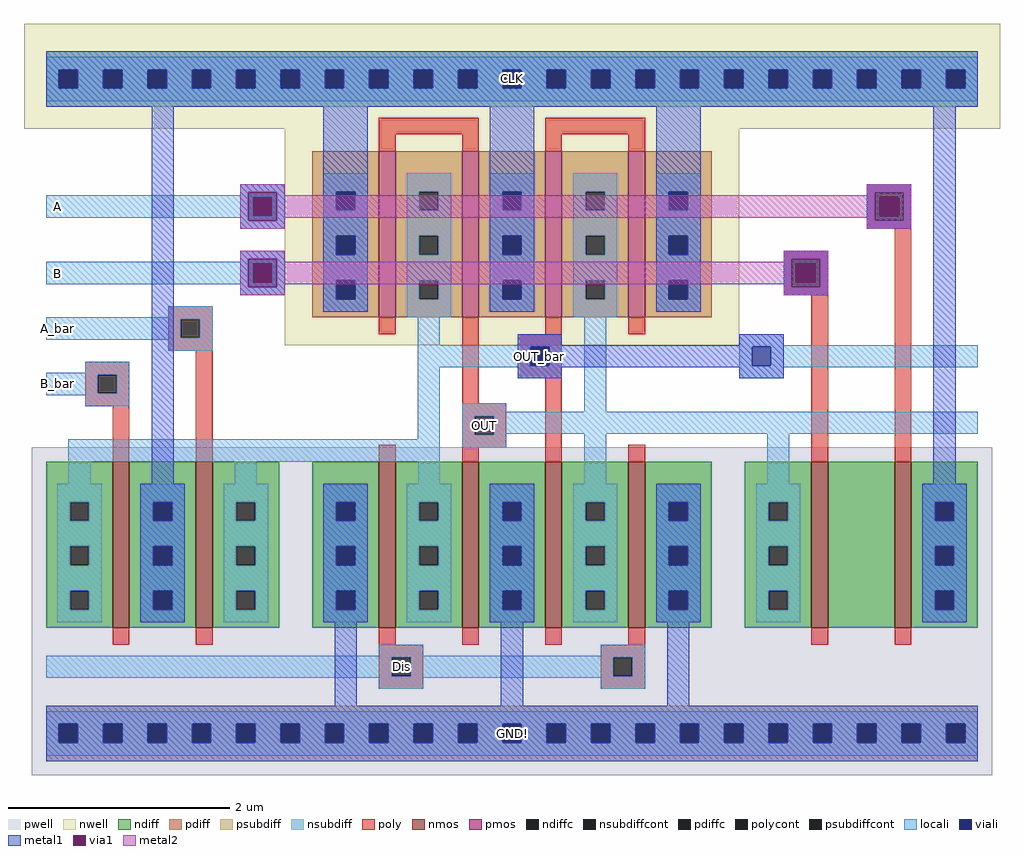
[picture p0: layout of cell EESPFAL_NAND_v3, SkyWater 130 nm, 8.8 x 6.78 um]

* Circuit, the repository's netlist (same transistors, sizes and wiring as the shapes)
* NGSPICE file created from EESPFAL_NAND_v3.ext - technology: sky130A

.subckt EESPFAL_NAND_v3 A A_bar B B_bar OUT OUT_bar Dis GND CLK
X0 CLK OUT_bar OUT CLK sky130_fd_pr__pfet_01v8 ad=2.7e+12p pd=1.26e+07u as=9e+11p ps=4.2e+06u w=1.5e+06u l=150000u M=2
X1 CLK A a_n2940_320# GND sky130_fd_pr__nfet_01v8 ad=6e+12p pd=2.62e+07u as=9e+11p ps=4.2e+06u w=1.5e+06u l=150000u
X2 CLK OUT OUT_bar CLK sky130_fd_pr__pfet_01v8 ad=0p pd=0u as=9e+11p ps=4.2e+06u w=1.5e+06u l=150000u M=2
X3 CLK B_bar OUT_bar GND sky130_fd_pr__nfet_01v8 ad=0p pd=0u as=2.7e+12p ps=1.26e+07u w=1.5e+06u l=150000u
X4 OUT OUT_bar GND GND sky130_fd_pr__nfet_01v8 ad=1.8e+12p pd=8.4e+06u as=2.7e+12p ps=1.26e+07u w=1.5e+06u l=150000u
X5 OUT_bar Dis GND GND sky130_fd_pr__nfet_01v8 ad=0p pd=0u as=0p ps=0u w=1.5e+06u l=150000u
X6 OUT_bar A_bar CLK GND sky130_fd_pr__nfet_01v8 ad=0p pd=0u as=0p ps=0u w=1.5e+06u l=150000u
X7 a_n2940_320# B OUT GND sky130_fd_pr__nfet_01v8 ad=0p pd=0u as=0p ps=0u w=1.5e+06u l=150000u
X8 GND Dis OUT GND sky130_fd_pr__nfet_01v8 ad=0p pd=0u as=0p ps=0u w=1.5e+06u l=150000u
X9 GND OUT OUT_bar GND sky130_fd_pr__nfet_01v8 ad=0p pd=0u as=0p ps=0u w=1.5e+06u l=150000u
.ends

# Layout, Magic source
magic
tech sky130A
magscale 1 2
<< nwell >>
rect -949 486 811 676
rect -479 96 341 486
<< pwell >>
rect -935 -680 797 -88
<< nmos >>
rect -789 -414 -759 -114
rect -639 -414 -609 -114
rect -309 -414 -279 -114
rect -159 -414 -129 -114
rect -9 -414 21 -114
rect 141 -414 171 -114
rect 471 -414 501 -114
rect 621 -414 651 -114
<< pmos >>
rect -309 146 -279 446
rect -159 146 -129 446
rect -9 146 21 446
rect 141 146 171 446
<< ndiff >>
rect -909 -187 -789 -114
rect -909 -221 -866 -187
rect -832 -221 -789 -187
rect -909 -267 -789 -221
rect -909 -301 -866 -267
rect -832 -301 -789 -267
rect -909 -347 -789 -301
rect -909 -381 -866 -347
rect -832 -381 -789 -347
rect -909 -414 -789 -381
rect -759 -187 -639 -114
rect -759 -221 -716 -187
rect -682 -221 -639 -187
rect -759 -267 -639 -221
rect -759 -301 -716 -267
rect -682 -301 -639 -267
rect -759 -347 -639 -301
rect -759 -381 -716 -347
rect -682 -381 -639 -347
rect -759 -414 -639 -381
rect -609 -187 -489 -114
rect -609 -221 -566 -187
rect -532 -221 -489 -187
rect -609 -267 -489 -221
rect -609 -301 -566 -267
rect -532 -301 -489 -267
rect -609 -347 -489 -301
rect -609 -381 -566 -347
rect -532 -381 -489 -347
rect -609 -414 -489 -381
rect -429 -187 -309 -114
rect -429 -221 -386 -187
rect -352 -221 -309 -187
rect -429 -267 -309 -221
rect -429 -301 -386 -267
rect -352 -301 -309 -267
rect -429 -347 -309 -301
rect -429 -381 -386 -347
rect -352 -381 -309 -347
rect -429 -414 -309 -381
rect -279 -187 -159 -114
rect -279 -221 -236 -187
rect -202 -221 -159 -187
rect -279 -267 -159 -221
rect -279 -301 -236 -267
rect -202 -301 -159 -267
rect -279 -347 -159 -301
rect -279 -381 -236 -347
rect -202 -381 -159 -347
rect -279 -414 -159 -381
rect -129 -187 -9 -114
rect -129 -221 -86 -187
rect -52 -221 -9 -187
rect -129 -267 -9 -221
rect -129 -301 -86 -267
rect -52 -301 -9 -267
rect -129 -347 -9 -301
rect -129 -381 -86 -347
rect -52 -381 -9 -347
rect -129 -414 -9 -381
rect 21 -187 141 -114
rect 21 -221 64 -187
rect 98 -221 141 -187
rect 21 -267 141 -221
rect 21 -301 64 -267
rect 98 -301 141 -267
rect 21 -347 141 -301
rect 21 -381 64 -347
rect 98 -381 141 -347
rect 21 -414 141 -381
rect 171 -187 291 -114
rect 171 -221 214 -187
rect 248 -221 291 -187
rect 171 -267 291 -221
rect 171 -301 214 -267
rect 248 -301 291 -267
rect 171 -347 291 -301
rect 171 -381 214 -347
rect 248 -381 291 -347
rect 171 -414 291 -381
rect 351 -187 471 -114
rect 351 -221 394 -187
rect 428 -221 471 -187
rect 351 -267 471 -221
rect 351 -301 394 -267
rect 428 -301 471 -267
rect 351 -347 471 -301
rect 351 -381 394 -347
rect 428 -381 471 -347
rect 351 -414 471 -381
rect 501 -414 621 -114
rect 651 -187 771 -114
rect 651 -221 694 -187
rect 728 -221 771 -187
rect 651 -267 771 -221
rect 651 -301 694 -267
rect 728 -301 771 -267
rect 651 -347 771 -301
rect 651 -381 694 -347
rect 728 -381 771 -347
rect 651 -414 771 -381
<< pdiff >>
rect -429 373 -309 446
rect -429 339 -386 373
rect -352 339 -309 373
rect -429 293 -309 339
rect -429 259 -386 293
rect -352 259 -309 293
rect -429 213 -309 259
rect -429 179 -386 213
rect -352 179 -309 213
rect -429 146 -309 179
rect -279 373 -159 446
rect -279 339 -236 373
rect -202 339 -159 373
rect -279 293 -159 339
rect -279 259 -236 293
rect -202 259 -159 293
rect -279 213 -159 259
rect -279 179 -236 213
rect -202 179 -159 213
rect -279 146 -159 179
rect -129 373 -9 446
rect -129 339 -86 373
rect -52 339 -9 373
rect -129 293 -9 339
rect -129 259 -86 293
rect -52 259 -9 293
rect -129 213 -9 259
rect -129 179 -86 213
rect -52 179 -9 213
rect -129 146 -9 179
rect 21 373 141 446
rect 21 339 64 373
rect 98 339 141 373
rect 21 293 141 339
rect 21 259 64 293
rect 98 259 141 293
rect 21 213 141 259
rect 21 179 64 213
rect 98 179 141 213
rect 21 146 141 179
rect 171 373 291 446
rect 171 339 214 373
rect 248 339 291 373
rect 171 293 291 339
rect 171 259 214 293
rect 248 259 291 293
rect 171 213 291 259
rect 171 179 214 213
rect 248 179 291 213
rect 171 146 291 179
<< ndiffc >>
rect -866 -221 -832 -187
rect -866 -301 -832 -267
rect -866 -381 -832 -347
rect -716 -221 -682 -187
rect -716 -301 -682 -267
rect -716 -381 -682 -347
rect -566 -221 -532 -187
rect -566 -301 -532 -267
rect -566 -381 -532 -347
rect -386 -221 -352 -187
rect -386 -301 -352 -267
rect -386 -381 -352 -347
rect -236 -221 -202 -187
rect -236 -301 -202 -267
rect -236 -381 -202 -347
rect -86 -221 -52 -187
rect -86 -301 -52 -267
rect -86 -381 -52 -347
rect 64 -221 98 -187
rect 64 -301 98 -267
rect 64 -381 98 -347
rect 214 -221 248 -187
rect 214 -301 248 -267
rect 214 -381 248 -347
rect 394 -221 428 -187
rect 394 -301 428 -267
rect 394 -381 428 -347
rect 694 -221 728 -187
rect 694 -301 728 -267
rect 694 -381 728 -347
<< pdiffc >>
rect -386 339 -352 373
rect -386 259 -352 293
rect -386 179 -352 213
rect -236 339 -202 373
rect -236 259 -202 293
rect -236 179 -202 213
rect -86 339 -52 373
rect -86 259 -52 293
rect -86 179 -52 213
rect 64 339 98 373
rect 64 259 98 293
rect 64 179 98 213
rect 214 339 248 373
rect 214 259 248 293
rect 214 179 248 213
<< psubdiff >>
rect -909 -587 771 -554
rect -909 -621 -886 -587
rect -852 -621 -806 -587
rect -772 -621 -726 -587
rect -692 -621 -646 -587
rect -612 -621 -566 -587
rect -532 -621 -486 -587
rect -452 -621 -406 -587
rect -372 -621 -326 -587
rect -292 -621 -246 -587
rect -212 -621 -166 -587
rect -132 -621 -86 -587
rect -52 -621 -6 -587
rect 28 -621 74 -587
rect 108 -621 154 -587
rect 188 -621 234 -587
rect 268 -621 314 -587
rect 348 -621 394 -587
rect 428 -621 474 -587
rect 508 -621 554 -587
rect 588 -621 634 -587
rect 668 -621 714 -587
rect 748 -621 771 -587
rect -909 -654 771 -621
<< nsubdiff >>
rect -909 593 771 626
rect -909 559 -886 593
rect -852 559 -806 593
rect -772 559 -726 593
rect -692 559 -646 593
rect -612 559 -566 593
rect -532 559 -486 593
rect -452 559 -406 593
rect -372 559 -326 593
rect -292 559 -246 593
rect -212 559 -166 593
rect -132 559 -86 593
rect -52 559 -6 593
rect 28 559 74 593
rect 108 559 154 593
rect 188 559 234 593
rect 268 559 314 593
rect 348 559 394 593
rect 428 559 474 593
rect 508 559 554 593
rect 588 559 634 593
rect 668 559 714 593
rect 748 559 771 593
rect -909 526 771 559
<< psubdiffcont >>
rect -886 -621 -852 -587
rect -806 -621 -772 -587
rect -726 -621 -692 -587
rect -646 -621 -612 -587
rect -566 -621 -532 -587
rect -486 -621 -452 -587
rect -406 -621 -372 -587
rect -326 -621 -292 -587
rect -246 -621 -212 -587
rect -166 -621 -132 -587
rect -86 -621 -52 -587
rect -6 -621 28 -587
rect 74 -621 108 -587
rect 154 -621 188 -587
rect 234 -621 268 -587
rect 314 -621 348 -587
rect 394 -621 428 -587
rect 474 -621 508 -587
rect 554 -621 588 -587
rect 634 -621 668 -587
rect 714 -621 748 -587
<< nsubdiffcont >>
rect -886 559 -852 593
rect -806 559 -772 593
rect -726 559 -692 593
rect -646 559 -612 593
rect -566 559 -532 593
rect -486 559 -452 593
rect -406 559 -372 593
rect -326 559 -292 593
rect -246 559 -212 593
rect -166 559 -132 593
rect -86 559 -52 593
rect -6 559 28 593
rect 74 559 108 593
rect 154 559 188 593
rect 234 559 268 593
rect 314 559 348 593
rect 394 559 428 593
rect 474 559 508 593
rect 554 559 588 593
rect 634 559 668 593
rect 714 559 748 593
<< poly >>
rect -309 476 -129 506
rect -309 446 -279 476
rect -159 446 -129 476
rect -9 476 171 506
rect -9 446 21 476
rect 141 446 171 476
rect -689 143 -609 166
rect 571 363 651 386
rect 571 329 594 363
rect 628 329 651 363
rect 571 306 651 329
rect 421 243 501 266
rect 421 209 444 243
rect 478 209 501 243
rect 421 186 501 209
rect -689 109 -666 143
rect -632 109 -609 143
rect -309 116 -279 146
rect -689 86 -609 109
rect -839 43 -759 66
rect -839 9 -816 43
rect -782 9 -759 43
rect -839 -14 -759 9
rect -789 -114 -759 -14
rect -639 -114 -609 86
rect -159 -9 -129 146
rect -9 116 21 146
rect 141 116 171 146
rect -59 93 21 116
rect -59 59 -36 93
rect -2 59 21 93
rect -59 36 21 59
rect -159 -32 -79 -9
rect -159 -66 -136 -32
rect -102 -66 -79 -32
rect -309 -114 -279 -84
rect -159 -89 -79 -66
rect -159 -114 -129 -89
rect -9 -114 21 36
rect 141 -114 171 -84
rect 471 -114 501 186
rect 621 -114 651 306
rect -789 -444 -759 -414
rect -639 -444 -609 -414
rect -309 -444 -279 -414
rect -159 -444 -129 -414
rect -9 -444 21 -414
rect 141 -444 171 -414
rect 471 -444 501 -414
rect 621 -444 651 -414
rect -309 -467 -229 -444
rect -309 -501 -286 -467
rect -252 -501 -229 -467
rect -309 -524 -229 -501
rect 91 -467 171 -444
rect 91 -501 114 -467
rect 148 -501 171 -467
rect 91 -524 171 -501
<< polycont >>
rect 594 329 628 363
rect 444 209 478 243
rect -666 109 -632 143
rect -816 9 -782 43
rect -36 59 -2 93
rect -136 -66 -102 -32
rect -286 -501 -252 -467
rect 114 -501 148 -467
<< locali >>
rect -909 593 771 616
rect -909 559 -886 593
rect -852 559 -806 593
rect -772 559 -726 593
rect -692 559 -646 593
rect -612 559 -566 593
rect -532 559 -486 593
rect -452 559 -406 593
rect -372 559 -326 593
rect -292 559 -246 593
rect -212 559 -166 593
rect -132 559 -86 593
rect -52 559 -6 593
rect 28 559 74 593
rect 108 559 154 593
rect 188 559 234 593
rect 268 559 314 593
rect 348 559 394 593
rect 428 559 474 593
rect 508 559 554 593
rect 588 559 634 593
rect 668 559 714 593
rect 748 559 771 593
rect -909 536 771 559
rect -559 366 -479 386
rect -909 363 -479 366
rect -909 329 -536 363
rect -502 329 -479 363
rect -909 326 -479 329
rect -559 306 -479 326
rect -409 373 -329 406
rect -409 339 -386 373
rect -352 339 -329 373
rect -409 293 -329 339
rect -559 246 -479 266
rect -909 243 -479 246
rect -909 209 -536 243
rect -502 209 -479 243
rect -909 206 -479 209
rect -559 186 -479 206
rect -409 259 -386 293
rect -352 259 -329 293
rect -409 213 -329 259
rect -409 179 -386 213
rect -352 179 -329 213
rect -689 146 -609 166
rect -409 156 -329 179
rect -259 373 -179 406
rect -259 339 -236 373
rect -202 339 -179 373
rect -259 293 -179 339
rect -259 259 -236 293
rect -202 259 -179 293
rect -259 213 -179 259
rect -259 179 -236 213
rect -202 179 -179 213
rect -259 146 -179 179
rect -109 373 -29 406
rect -109 339 -86 373
rect -52 339 -29 373
rect -109 293 -29 339
rect -109 259 -86 293
rect -52 259 -29 293
rect -109 213 -29 259
rect -109 179 -86 213
rect -52 179 -29 213
rect -109 156 -29 179
rect 41 373 121 406
rect 41 339 64 373
rect 98 339 121 373
rect 41 293 121 339
rect 41 259 64 293
rect 98 259 121 293
rect 41 213 121 259
rect 41 179 64 213
rect 98 179 121 213
rect 41 146 121 179
rect 191 373 271 406
rect 191 339 214 373
rect 248 339 271 373
rect 191 293 271 339
rect 571 363 651 386
rect 571 329 594 363
rect 628 329 651 363
rect 571 306 651 329
rect 191 259 214 293
rect 248 259 271 293
rect 191 213 271 259
rect 191 179 214 213
rect 248 179 271 213
rect 421 243 501 266
rect 421 209 444 243
rect 478 209 501 243
rect 421 186 501 209
rect 191 156 271 179
rect -909 143 -609 146
rect -909 109 -666 143
rect -632 109 -609 143
rect -909 106 -609 109
rect -689 86 -609 106
rect -239 96 -199 146
rect -59 96 21 116
rect -239 93 21 96
rect -839 46 -759 66
rect -909 43 -759 46
rect -909 9 -816 43
rect -782 9 -759 43
rect -909 6 -759 9
rect -839 -14 -759 6
rect -239 59 -36 93
rect -2 59 21 93
rect -239 56 21 59
rect -239 -74 -199 56
rect -59 36 21 56
rect -869 -114 -199 -74
rect -159 -24 -79 -9
rect 61 -24 101 146
rect 341 96 421 116
rect 341 93 771 96
rect 341 59 364 93
rect 398 59 771 93
rect 341 56 771 59
rect 341 36 421 56
rect -159 -32 771 -24
rect -159 -66 -136 -32
rect -102 -64 771 -32
rect -102 -66 -79 -64
rect -159 -89 -79 -66
rect -869 -154 -829 -114
rect -569 -154 -529 -114
rect -238 -154 -199 -114
rect 61 -154 101 -64
rect 391 -154 431 -64
rect -889 -187 -809 -154
rect -889 -221 -866 -187
rect -832 -221 -809 -187
rect -889 -267 -809 -221
rect -889 -301 -866 -267
rect -832 -301 -809 -267
rect -889 -347 -809 -301
rect -889 -381 -866 -347
rect -832 -381 -809 -347
rect -889 -404 -809 -381
rect -739 -187 -659 -154
rect -739 -221 -716 -187
rect -682 -221 -659 -187
rect -739 -267 -659 -221
rect -739 -301 -716 -267
rect -682 -301 -659 -267
rect -739 -347 -659 -301
rect -739 -381 -716 -347
rect -682 -381 -659 -347
rect -739 -404 -659 -381
rect -589 -187 -509 -154
rect -589 -221 -566 -187
rect -532 -221 -509 -187
rect -589 -267 -509 -221
rect -589 -301 -566 -267
rect -532 -301 -509 -267
rect -589 -347 -509 -301
rect -589 -381 -566 -347
rect -532 -381 -509 -347
rect -589 -404 -509 -381
rect -409 -187 -329 -154
rect -409 -221 -386 -187
rect -352 -221 -329 -187
rect -409 -267 -329 -221
rect -409 -301 -386 -267
rect -352 -301 -329 -267
rect -409 -347 -329 -301
rect -409 -381 -386 -347
rect -352 -381 -329 -347
rect -409 -404 -329 -381
rect -259 -187 -179 -154
rect -259 -221 -236 -187
rect -202 -221 -179 -187
rect -259 -267 -179 -221
rect -259 -301 -236 -267
rect -202 -301 -179 -267
rect -259 -347 -179 -301
rect -259 -381 -236 -347
rect -202 -381 -179 -347
rect -259 -404 -179 -381
rect -109 -187 -29 -154
rect -109 -221 -86 -187
rect -52 -221 -29 -187
rect -109 -267 -29 -221
rect -109 -301 -86 -267
rect -52 -301 -29 -267
rect -109 -347 -29 -301
rect -109 -381 -86 -347
rect -52 -381 -29 -347
rect -109 -404 -29 -381
rect 41 -187 121 -154
rect 41 -221 64 -187
rect 98 -221 121 -187
rect 41 -267 121 -221
rect 41 -301 64 -267
rect 98 -301 121 -267
rect 41 -347 121 -301
rect 41 -381 64 -347
rect 98 -381 121 -347
rect 41 -404 121 -381
rect 191 -187 271 -154
rect 191 -221 214 -187
rect 248 -221 271 -187
rect 191 -267 271 -221
rect 191 -301 214 -267
rect 248 -301 271 -267
rect 191 -347 271 -301
rect 191 -381 214 -347
rect 248 -381 271 -347
rect 191 -404 271 -381
rect 371 -187 451 -154
rect 371 -221 394 -187
rect 428 -221 451 -187
rect 371 -267 451 -221
rect 371 -301 394 -267
rect 428 -301 451 -267
rect 371 -347 451 -301
rect 371 -381 394 -347
rect 428 -381 451 -347
rect 371 -404 451 -381
rect 671 -187 751 -154
rect 671 -221 694 -187
rect 728 -221 751 -187
rect 671 -267 751 -221
rect 671 -301 694 -267
rect 728 -301 751 -267
rect 671 -347 751 -301
rect 671 -381 694 -347
rect 728 -381 751 -347
rect 671 -404 751 -381
rect -309 -464 -229 -444
rect 91 -464 171 -444
rect -909 -467 171 -464
rect -909 -501 -286 -467
rect -252 -501 114 -467
rect 148 -501 171 -467
rect -909 -504 171 -501
rect -309 -524 -229 -504
rect 91 -524 171 -504
rect -909 -587 771 -564
rect -909 -621 -886 -587
rect -852 -621 -806 -587
rect -772 -621 -726 -587
rect -692 -621 -646 -587
rect -612 -621 -566 -587
rect -532 -621 -486 -587
rect -452 -621 -406 -587
rect -372 -621 -326 -587
rect -292 -621 -246 -587
rect -212 -621 -166 -587
rect -132 -621 -86 -587
rect -52 -621 -6 -587
rect 28 -621 74 -587
rect 108 -621 154 -587
rect 188 -621 234 -587
rect 268 -621 314 -587
rect 348 -621 394 -587
rect 428 -621 474 -587
rect 508 -621 554 -587
rect 588 -621 634 -587
rect 668 -621 714 -587
rect 748 -621 771 -587
rect -909 -644 771 -621
<< viali >>
rect -886 559 -852 593
rect -806 559 -772 593
rect -726 559 -692 593
rect -646 559 -612 593
rect -566 559 -532 593
rect -486 559 -452 593
rect -406 559 -372 593
rect -326 559 -292 593
rect -246 559 -212 593
rect -166 559 -132 593
rect -86 559 -52 593
rect -6 559 28 593
rect 74 559 108 593
rect 154 559 188 593
rect 234 559 268 593
rect 314 559 348 593
rect 394 559 428 593
rect 474 559 508 593
rect 554 559 588 593
rect 634 559 668 593
rect 714 559 748 593
rect -536 329 -502 363
rect -386 339 -352 373
rect -536 209 -502 243
rect -386 259 -352 293
rect -386 179 -352 213
rect -86 339 -52 373
rect -86 259 -52 293
rect -86 179 -52 213
rect 214 339 248 373
rect 594 329 628 363
rect 214 259 248 293
rect 214 179 248 213
rect 444 209 478 243
rect -36 59 -2 93
rect 364 59 398 93
rect -716 -221 -682 -187
rect -716 -301 -682 -267
rect -716 -381 -682 -347
rect -386 -221 -352 -187
rect -386 -301 -352 -267
rect -386 -381 -352 -347
rect -86 -221 -52 -187
rect -86 -301 -52 -267
rect -86 -381 -52 -347
rect 214 -221 248 -187
rect 214 -301 248 -267
rect 214 -381 248 -347
rect 694 -221 728 -187
rect 694 -301 728 -267
rect 694 -381 728 -347
rect -886 -621 -852 -587
rect -806 -621 -772 -587
rect -726 -621 -692 -587
rect -646 -621 -612 -587
rect -566 -621 -532 -587
rect -486 -621 -452 -587
rect -406 -621 -372 -587
rect -326 -621 -292 -587
rect -246 -621 -212 -587
rect -166 -621 -132 -587
rect -86 -621 -52 -587
rect -6 -621 28 -587
rect 74 -621 108 -587
rect 154 -621 188 -587
rect 234 -621 268 -587
rect 314 -621 348 -587
rect 394 -621 428 -587
rect 474 -621 508 -587
rect 554 -621 588 -587
rect 634 -621 668 -587
rect 714 -621 748 -587
<< metal1 >>
rect -909 593 771 626
rect -909 559 -886 593
rect -852 559 -806 593
rect -772 559 -726 593
rect -692 559 -646 593
rect -612 559 -566 593
rect -532 559 -486 593
rect -452 559 -406 593
rect -372 559 -326 593
rect -292 559 -246 593
rect -212 559 -166 593
rect -132 559 -86 593
rect -52 559 -6 593
rect 28 559 74 593
rect 108 559 154 593
rect 188 559 234 593
rect 268 559 314 593
rect 348 559 394 593
rect 428 559 474 593
rect 508 559 554 593
rect 588 559 634 593
rect 668 559 714 593
rect 748 559 771 593
rect -909 526 771 559
rect -719 -154 -679 526
rect -559 372 -479 386
rect -559 320 -545 372
rect -493 320 -479 372
rect -559 306 -479 320
rect -409 373 -329 526
rect -409 339 -386 373
rect -352 339 -329 373
rect -409 293 -329 339
rect -559 252 -479 266
rect -559 200 -545 252
rect -493 200 -479 252
rect -559 186 -479 200
rect -409 259 -386 293
rect -352 259 -329 293
rect -409 213 -329 259
rect -409 179 -386 213
rect -352 179 -329 213
rect -409 156 -329 179
rect -109 373 -29 526
rect -109 339 -86 373
rect -52 339 -29 373
rect -109 293 -29 339
rect -109 259 -86 293
rect -52 259 -29 293
rect -109 213 -29 259
rect -109 179 -86 213
rect -52 179 -29 213
rect -109 156 -29 179
rect 191 373 271 526
rect 191 339 214 373
rect 248 339 271 373
rect 191 293 271 339
rect 571 372 651 386
rect 571 320 585 372
rect 637 320 651 372
rect 571 306 651 320
rect 191 259 214 293
rect 248 259 271 293
rect 191 213 271 259
rect 191 179 214 213
rect 248 179 271 213
rect 421 252 501 266
rect 421 200 435 252
rect 487 200 501 252
rect 421 186 501 200
rect 191 156 271 179
rect -59 96 21 116
rect 341 96 421 116
rect -59 93 421 96
rect -59 59 -36 93
rect -2 59 364 93
rect 398 59 421 93
rect -59 56 421 59
rect -59 36 21 56
rect 341 36 421 56
rect 691 -154 731 526
rect -739 -187 -659 -154
rect -739 -221 -716 -187
rect -682 -221 -659 -187
rect -739 -267 -659 -221
rect -739 -301 -716 -267
rect -682 -301 -659 -267
rect -739 -347 -659 -301
rect -739 -381 -716 -347
rect -682 -381 -659 -347
rect -739 -404 -659 -381
rect -409 -187 -329 -154
rect -409 -221 -386 -187
rect -352 -221 -329 -187
rect -409 -267 -329 -221
rect -409 -301 -386 -267
rect -352 -301 -329 -267
rect -409 -347 -329 -301
rect -409 -381 -386 -347
rect -352 -381 -329 -347
rect -409 -404 -329 -381
rect -109 -187 -29 -154
rect -109 -221 -86 -187
rect -52 -221 -29 -187
rect -109 -267 -29 -221
rect -109 -301 -86 -267
rect -52 -301 -29 -267
rect -109 -347 -29 -301
rect -109 -381 -86 -347
rect -52 -381 -29 -347
rect -109 -404 -29 -381
rect 191 -187 271 -154
rect 191 -221 214 -187
rect 248 -221 271 -187
rect 191 -267 271 -221
rect 191 -301 214 -267
rect 248 -301 271 -267
rect 191 -347 271 -301
rect 191 -381 214 -347
rect 248 -381 271 -347
rect 191 -404 271 -381
rect 671 -187 751 -154
rect 671 -221 694 -187
rect 728 -221 751 -187
rect 671 -267 751 -221
rect 671 -301 694 -267
rect 728 -301 751 -267
rect 671 -347 751 -301
rect 671 -381 694 -347
rect 728 -381 751 -347
rect 671 -404 751 -381
rect -389 -554 -349 -404
rect -89 -554 -49 -404
rect 211 -554 251 -404
rect -909 -587 771 -554
rect -909 -621 -886 -587
rect -852 -621 -806 -587
rect -772 -621 -726 -587
rect -692 -621 -646 -587
rect -612 -621 -566 -587
rect -532 -621 -486 -587
rect -452 -621 -406 -587
rect -372 -621 -326 -587
rect -292 -621 -246 -587
rect -212 -621 -166 -587
rect -132 -621 -86 -587
rect -52 -621 -6 -587
rect 28 -621 74 -587
rect 108 -621 154 -587
rect 188 -621 234 -587
rect 268 -621 314 -587
rect 348 -621 394 -587
rect 428 -621 474 -587
rect 508 -621 554 -587
rect 588 -621 634 -587
rect 668 -621 714 -587
rect 748 -621 771 -587
rect -909 -654 771 -621
<< via1 >>
rect -545 363 -493 372
rect -545 329 -536 363
rect -536 329 -502 363
rect -502 329 -493 363
rect -545 320 -493 329
rect -545 243 -493 252
rect -545 209 -536 243
rect -536 209 -502 243
rect -502 209 -493 243
rect -545 200 -493 209
rect 585 363 637 372
rect 585 329 594 363
rect 594 329 628 363
rect 628 329 637 363
rect 585 320 637 329
rect 435 243 487 252
rect 435 209 444 243
rect 444 209 478 243
rect 478 209 487 243
rect 435 200 487 209
<< metal2 >>
rect -559 372 -479 386
rect -559 320 -545 372
rect -493 366 -479 372
rect 571 372 651 386
rect 571 366 585 372
rect -493 326 585 366
rect -493 320 -479 326
rect -559 306 -479 320
rect 571 320 585 326
rect 637 320 651 372
rect 571 306 651 320
rect -559 252 -479 266
rect -559 200 -545 252
rect -493 246 -479 252
rect 421 252 501 266
rect 421 246 435 252
rect -493 206 435 246
rect -493 200 -479 206
rect -559 186 -479 200
rect 421 200 435 206
rect 487 200 501 252
rect 421 186 501 200
<< labels >>
rlabel metal1 s -39 56 1 96 4 OUT_bar
port 1 nsew
rlabel metal1 s -89 -624 -49 -584 4 GND!
port 2 nsew
rlabel metal1 s -89 556 -49 596 4 CLK
port 3 nsew
rlabel locali s -139 -69 -99 -29 4 OUT
port 4 nsew
rlabel locali s -899 336 -879 356 4 A
port 5 nsew
rlabel locali s -899 116 -879 136 4 A_bar
port 6 nsew
rlabel locali s -899 216 -879 236 4 B
port 7 nsew
rlabel locali s -899 16 -879 36 4 B_bar
port 8 nsew
rlabel locali s -289 -504 -249 -464 4 Dis
port 9 nsew
<< end >>
